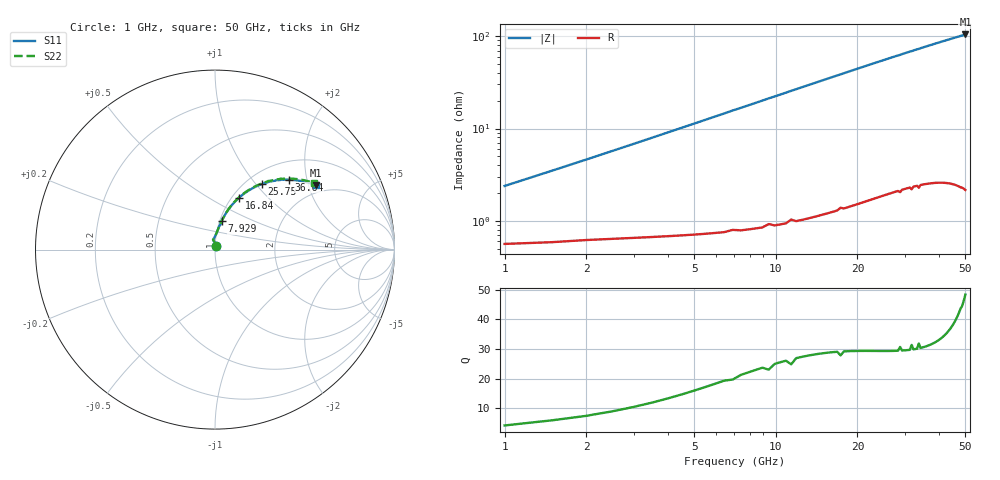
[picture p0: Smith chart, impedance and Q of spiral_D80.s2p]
! rapidmom parametric dataset (SG13G2 open stack, IHP)
! device = spiral
! family = spiral_N2
! stack = IHP SG13G2 (open PDK)
! Dout_um = 80
! width_um = 10
! spacing_um = 3
! sides = 8
! n_ports = 2
! n_dof = 5446
! cell_um = 2.0
! sweep = ROM (rational fit from adaptive anchor solves)
! rom_converged = True
! f_points = 100
! f_min_hz = 1.000e+09
! f_max_hz = 5.000e+10
! tool = rapidmom (2.5D MoM, A-EFIE)
! N = 2
# HZ S RI R 50
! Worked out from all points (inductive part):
!   100 points, 1 GHz to 50 GHz, reference 50 ohm
!   read as one part in series: L = 366 pH near 1 GHz
!   highest Q = 48.4 at 50 GHz (marker M1), where L = 333 pH
!   S11 on the Smith chart (normalised r, x): 1 GHz: 1.01, +0.04; 7.929 GHz: 1.02, +0.34; 16.84 GHz: 1.08, +0.69; 25.75 GHz: 1.17, +1.07; 36.64 GHz: 1.36, +1.56; 50 GHz: 1.74, +2.23
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1e9  0.00535 0.0196  0.9931 -0.0262  0.9931 -0.0262  0.00535 0.0196
1.494949e9  0.00574 0.0295  0.9918 -0.0384  0.9918 -0.0384  0.00574 0.0295
1.989899e9  -0.011 0.0542  0.9727 -0.0353  0.9727 -0.0353  -0.0108 0.0543
2.484848e9  -0.00479 0.0646  0.9763 -0.0466  0.9763 -0.0466  -0.00459 0.0647
3.474747e9  0.00446 0.0827  0.9792 -0.0715  0.9792 -0.0715  0.00465 0.0828
4.959596e9  0.0152 0.1086  0.9768 -0.1095  0.9768 -0.1095  0.0153 0.1086
6.444444e9  0.0256 0.1343  0.9701 -0.1462  0.9701 -0.1462  0.0256 0.1343
6.939394e9  0.0288 0.1358  0.9656 -0.1662  0.9656 -0.1662  0.0285 0.1358
7.434343e9  0.0331 0.1513  0.9638 -0.1698  0.9638 -0.1698  0.0329 0.1512
7.929293e9  0.037 0.1597  0.9603 -0.1814  0.9603 -0.1814  0.0368 0.1596
8.919192e9  0.0454 0.1762  0.9525 -0.2041  0.9525 -0.2041  0.0451 0.1762
9.414141e9  0.0487 0.1797  0.9454 -0.2203  0.9454 -0.2203  0.0481 0.1798
9.909091e9  0.0545 0.1923  0.9437 -0.2261  0.9437 -0.2261  0.054 0.1923
1.238384e10  0.0799 0.2304  0.9183 -0.2781  0.9183 -0.2781  0.079 0.2306
1.683838e10  0.1342 0.2893  0.8626 -0.3603  0.8626 -0.3603  0.1324 0.2899
1.782828e10  0.1474 0.3005  0.8489 -0.3765  0.8489 -0.3765  0.1453 0.3012
2.178788e10  0.2027 0.338  0.791 -0.4339  0.7911 -0.4339  0.1997 0.3395
2.574747e10  0.2599 0.3645  0.7304 -0.4797  0.7304 -0.4797  0.2562 0.367
3.366667e10  0.3702 0.3914  0.6133 -0.5399  0.6133 -0.5399  0.3651 0.3962
3.663636e10  0.4109 0.3895  0.5665 -0.5563  0.5665 -0.5563  0.4052 0.3957
4.208081e10  0.4772 0.3825  0.4919 -0.5744  0.4919 -0.5744  0.471 0.391
5e10  0.5605 0.3577  0.3933 -0.5854  0.3933 -0.5854  0.554 0.3698
